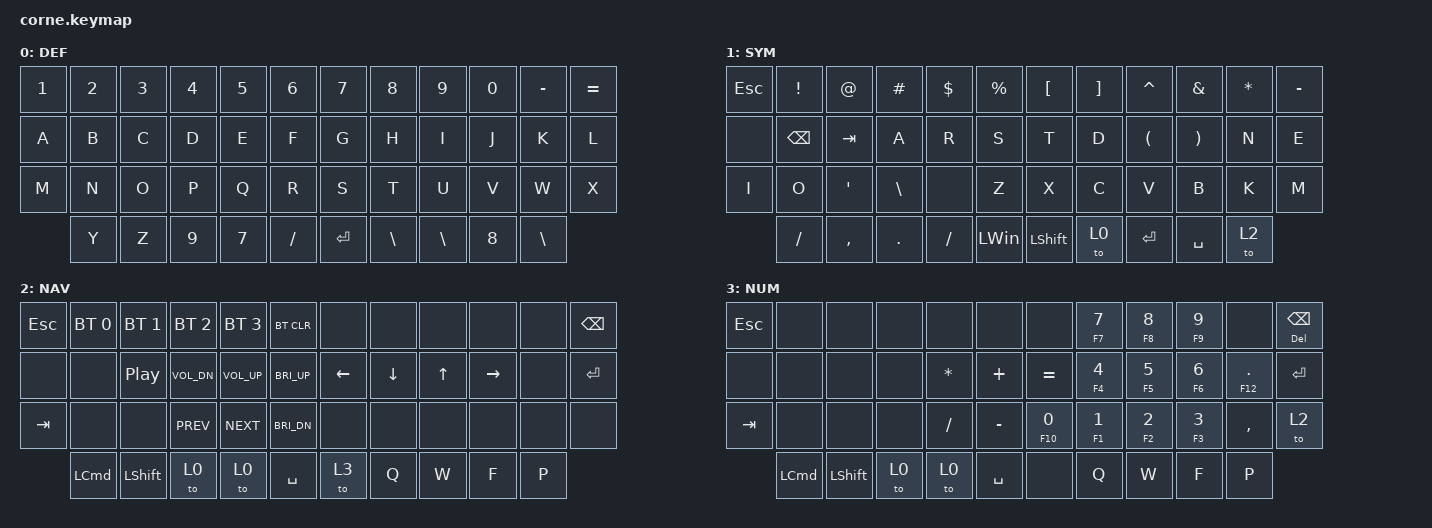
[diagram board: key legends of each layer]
/*
 * Copyright (c) 2020 The ZMK Contributors
 *
 * SPDX-License-Identifier: MIT
 */

#include <behaviors.dtsi>
#include <dt-bindings/zmk/bt.h>
#include <dt-bindings/zmk/keys.h>

#define DEFAULT_L 0
#define SYMBOLS_L 1
#define ARROWS_L  2
#define NUMBERS_L 3

/ {
    behaviors {
        hm: homerow_mods {
            compatible = "zmk,behavior-hold-tap";
            label = "HOMEROW_MODS";
            #binding-cells = <2>;
            tapping-term-ms = <300>;
            quick-tap-ms = <200>;
            flavor = "tap-preferred";
            bindings = <&kp>, <&kp>;
        };
    };

    keymap {
        compatible = "zmk,keymap";

        default_layer {
            label = "DEF";
            bindings = <
&kp N1  &kp N2  &kp N3  &kp N4  &kp N5  &kp N6        &kp N7     &kp N8    &kp N9    &kp N0  &kp MINUS  &kp EQUAL
&kp A   &kp B   &kp C   &kp D   &kp E   &kp F         &kp G      &kp H     &kp I     &kp J   &kp K      &kp L
&kp M   &kp N   &kp O   &kp P   &kp Q   &kp R         &kp S      &kp T     &kp U     &kp V   &kp W      &kp X
        &kp Y   &kp Z   &kp N9  &kp N7  &kp FSLH      &kp ENTER  &kp BSLH  &kp BSLH  &kp N8  &kp BSLH
            >;
        };

        symbol_layer {
            label = "SYM";
            bindings = <
&kp ESC  &kp EXCL       &kp AT     &kp HASH  &kp DLLR   &kp PRCNT         &kp LEFT_BRACKET  &kp RIGHT_BRACKET  &kp CARET             &kp AMPS               &kp STAR  &kp MINUS
&none    &kp BACKSPACE  &kp TAB    &kp A     &kp R      &kp S             &kp T             &kp D              &kp LEFT_PARENTHESIS  &kp RIGHT_PARENTHESIS  &kp N     &kp E
&kp I    &kp O          &kp SQT    &kp BSLH  &none      &kp Z             &kp X             &kp C              &kp V                 &kp B                  &kp K     &kp M
         &kp FSLH       &kp COMMA  &kp DOT   &kp SLASH  &kp LEFT_WIN      &kp LEFT_SHIFT    &to 0              &kp ENTER             &kp SPACE              &to 2
            >;
        };

        arrows_layer {
            label = "NAV";
            bindings = <
&kp ESC  &bt BT_SEL 0  &bt BT_SEL 1  &bt BT_SEL 2  &bt BT_SEL 3  &bt BT_CLR        &none     &none     &none   &none      &none  &kp BSPC
&none    &none         &kp C_PP      &kp C_VOL_DN  &kp C_VOL_UP  &kp C_BRI_UP      &kp LEFT  &kp DOWN  &kp UP  &kp RIGHT  &none  &kp RET
&kp TAB  &none         &none         &kp C_PREV    &kp C_NEXT    &kp C_BRI_DN      &none     &none     &none   &none      &none  &none
         &kp LCMD      &kp LSHFT     &to 0         &to 0         &kp SPACE         &to 3     &kp Q     &kp W   &kp F      &kp P
            >;
        };

        numbers_layer {
            label = "NUM";
            bindings = <
&kp ESC  &none     &none      &none  &none     &none          &none       &hm F7 N7  &hm F8 N8  &hm F9 N9  &none        &hm DEL BSPC
&none    &none     &none      &none  &kp STAR  &kp PLUS       &kp EQUAL   &hm F4 N4  &hm F5 N5  &hm F6 N6  &hm F12 DOT  &kp RET
&kp TAB  &none     &none      &none  &kp FSLH  &kp MINUS      &hm F10 N0  &hm F1 N1  &hm F2 N2  &hm F3 N3  &kp COMMA    &to 2
         &kp LCMD  &kp LSHFT  &to 0  &to 0     &kp SPACE      &none       &kp Q      &kp W      &kp F      &kp P
            >;
        };
    };
};
